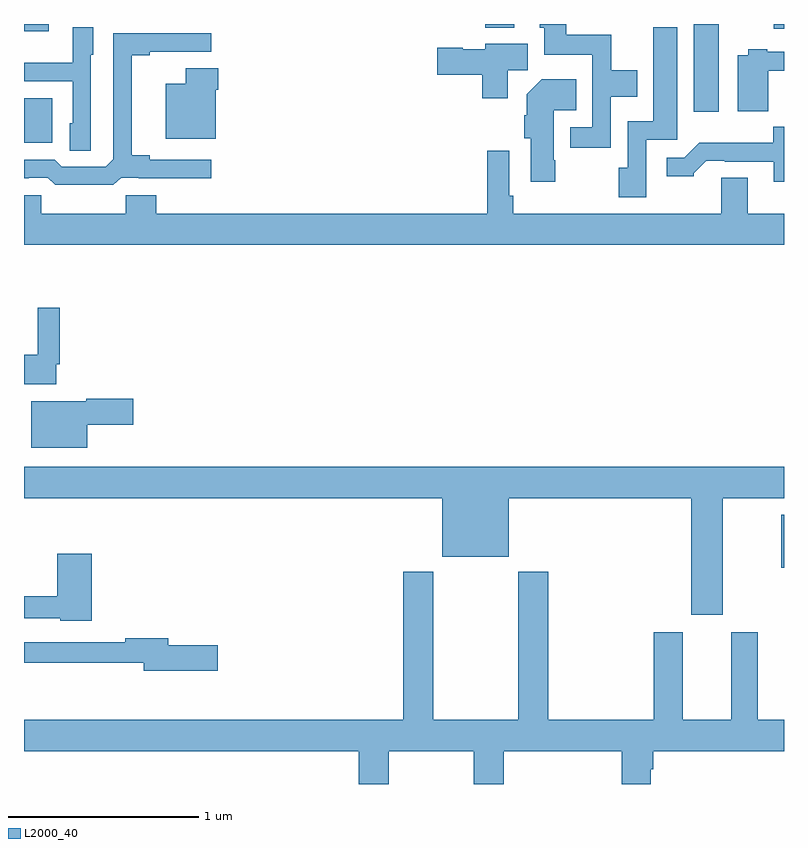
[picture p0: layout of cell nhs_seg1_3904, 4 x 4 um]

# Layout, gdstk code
import gdstk
lib = gdstk.Library(unit=1e-6, precision=1e-09)
def R(c, l, rs):  # rectangles x0, y0, x1, y1
    for r in rs: c.add(gdstk.rectangle(r[:2], r[2:], *l))
def P(c, l, *ps):  # polygons
    for p in ps: c.add(gdstk.Polygon(p, *l))
L2000_40 = (2000, 40)

nhs_seg1_3904 = lib.new_cell('nhs_seg1_3904')
R(nhs_seg1_3904, L2000_40, [(326.986,579.336,327,579.616), (323,581.573,323.149,581.809), (326.525,581.736,326.656,582.199), (323,582.162,323.131,582.199), (326.945,582.174,327,582.199), (325.427,582.179,325.579,582.199)])
P(nhs_seg1_3904, L2000_40, [(326.088,581.816),(326.227,581.816),(326.227,581.956),(326.091,581.956),(326.091,582.142),(325.855,582.142),(325.855,582.199),(325.715,582.199),(325.715,582.18),(325.739,582.18),(325.739,582.038),(325.992,582.038),(325.992,581.655),(325.875,581.655),(325.875,581.547),(326.088,581.547)],
  [(326.274,581.589),(326.437,581.589),(326.437,582.181),(326.312,582.181),(326.312,581.686),(326.178,581.686),(326.178,581.442),(326.131,581.442),(326.131,581.286),(326.274,581.286)],
  [(323.352,582.036),(323.365,582.036),(323.365,582.181),(323.256,582.181),(323.256,581.995),(323,581.995),(323,581.898),(323.256,581.898),(323.256,581.676),(323.24,581.676),(323.24,581.533),(323.352,581.533)],
  [(323.511,581.391),(323.605,581.391),(323.605,581.387),(323.986,581.387),(323.986,581.484),(323.662,581.484),(323.662,581.507),(323.567,581.507),(323.567,582.034),(323.662,582.034),(323.662,582.054),(323.986,582.054),(323.986,582.15),(323.469,582.15),(323.469,581.487),(323.43,581.448),(323.199,581.448),(323.163,581.484),(323,581.484),(323,581.387),(323.024,581.387),(323.024,581.391),(323.124,581.391),(323.164,581.352),(323.471,581.352)],
  [(325.546,581.956),(325.651,581.956),(325.651,582.094),(325.428,582.094),(325.428,582.067),(325.308,582.067),(325.308,582.075),(325.176,582.075),(325.176,581.933),(325.412,581.933),(325.412,581.808),(325.546,581.808)],
  [(326.918,581.953),(327,581.953),(327,582.054),(326.911,582.054),(326.911,582.067),(326.811,582.067),(326.811,582.034),(326.756,582.034),(326.756,581.741),(326.918,581.741)],
  [(324.01,581.852),(324.023,581.852),(324.023,581.965),(323.852,581.965),(323.852,581.884),(323.747,581.884),(323.747,581.594),(324.01,581.594)],
  [(325.797,581.482),(325.789,581.482),(325.789,581.744),(325.907,581.744),(325.907,581.908),(325.724,581.908),(325.646,581.83),(325.646,581.72),(325.634,581.72),(325.634,581.598),(325.667,581.598),(325.667,581.37),(325.797,581.37)],
  [(327,581.659),(326.943,581.659),(326.943,581.575),(326.554,581.575),(326.475,581.496),(326.382,581.496),(326.382,581.399),(326.526,581.399),(326.526,581.414),(326.59,581.478),(326.689,581.478),(326.689,581.475),(326.945,581.475),(326.945,581.37),(327,581.37)],
  [(327,581.2),(326.809,581.2),(326.809,581.39),(326.669,581.39),(326.669,581.2),(325.574,581.2),(325.574,581.296),(325.554,581.296),(325.554,581.533),(325.438,581.533),(325.438,581.2),(323.696,581.2),(323.696,581.298),(323.536,581.298),(323.536,581.2),(323.091,581.2),(323.091,581.298),(323,581.298),(323,581.036),(327,581.036)],
  [(323.169,580.408),(323.189,580.408),(323.189,580.705),(323.072,580.705),(323.072,580.457),(323,580.457),(323,580.304),(323.169,580.304)],
  [(323.332,580.091),(323.575,580.091),(323.575,580.226),(323.328,580.226),(323.328,580.213),(323.039,580.213),(323.039,579.968),(323.332,579.968)],
  [(326.677,579.704),(327,579.704),(327,579.868),(323,579.868),(323,579.704),(325.202,579.704),(325.202,579.395),(325.552,579.395),(325.552,579.704),(326.513,579.704),(326.513,579.09),(326.677,579.09)],
  [(323.357,579.412),(323.174,579.412),(323.174,579.188),(323,579.188),(323,579.072),(323.19,579.072),(323.19,579.059),(323.357,579.059)],
  [(324.921,578.372),(325.366,578.372),(325.366,578.199),(325.526,578.199),(325.526,578.372),(326.147,578.372),(326.147,578.199),(326.299,578.199),(326.299,578.276),(326.312,578.276),(326.312,578.372),(327,578.372),(327,578.536),(326.863,578.536),(326.863,578.998),(326.723,578.998),(326.723,578.536),(326.467,578.536),(326.467,578.998),(326.315,578.998),(326.315,578.536),(325.76,578.536),(325.76,579.316),(325.6,579.316),(325.6,578.536),(325.155,578.536),(325.155,579.316),(324.995,579.316),(324.995,578.536),(323,578.536),(323,578.372),(324.761,578.372),(324.761,578.199),(324.921,578.199)],
  [(324.019,578.93),(323.758,578.93),(323.758,578.966),(323.534,578.966),(323.534,578.946),(323,578.946),(323,578.838),(323.63,578.838),(323.63,578.795),(324.019,578.795)])

lib.write_gds('nhs_seg1_3904.gds')
